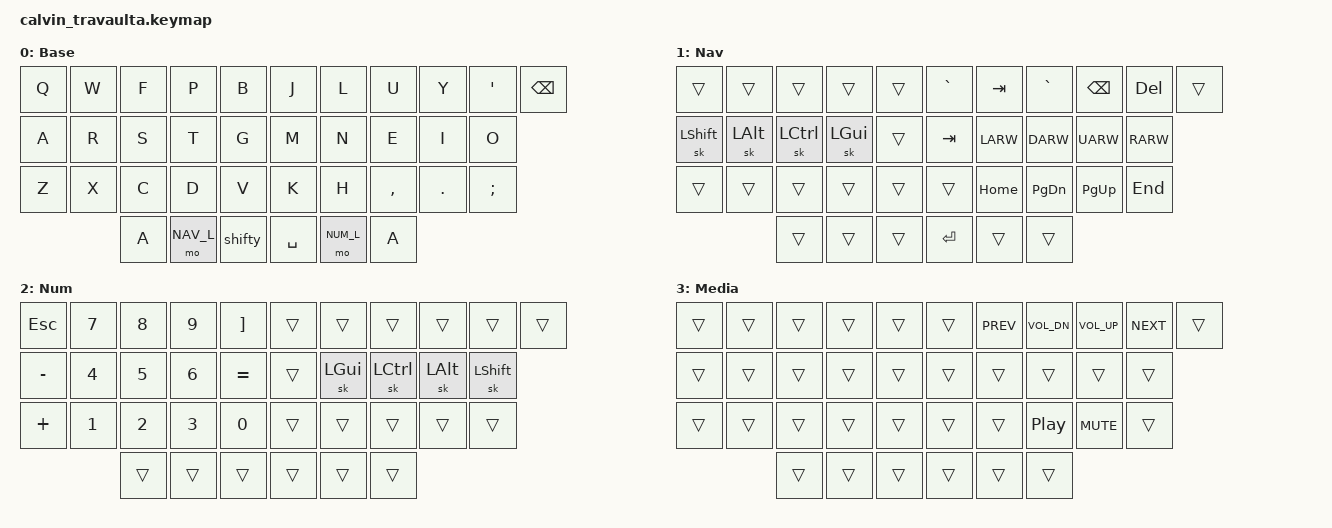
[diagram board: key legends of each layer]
#include <behaviors.dtsi>
#include <dt-bindings/zmk/keys.h>
#include <dt-bindings/zmk/bt.h>
#include <dt-bindings/zmk/outputs.h>

#define NAV_L 1
#define NUM_L 2
#define MED_L 3

/ {

    tap_dances {
       shifty: shift_caps_word {
		compatible = "zmk,behavior-tap-dance";
		#binding-cells = <0>;
		tapping-term-ms = <150>;
		bindings = <&kp LSHFT>, <&caps_word>;
	};
    };
    cond_layers {
        compatible = "zmk,conditional-layers";
	tri {
	    if-layers = <NUM_L NAV_L>;
	    then-layer = <MED_L>;
        };
    };
    combos {
        compatible = "zmk,combos";

	lgui_combo {
	    timeout-ms = <50>;
            key-positions = <14 17>;
            bindings = <&kp LGUI>;
	    layers = <MED_L>;
	};

	l_curly_bracket {
	    timeout-ms = <50>;
            key-positions = <1 12>;
            bindings = <&kp LS(LBKT)>;
	    layers = <NUM_L>;
	};

	r_curly_bracket {
	    timeout-ms = <50>;
            key-positions = <3 14>;
            bindings = <&kp LS(RBKT)>;
	    layers = <NUM_L>;
	};
	lbracket {
	    timeout-ms = <50>;
            key-positions = <12 22>;
            bindings = <&kp LBKT>;
	    layers = <NUM_L>;
	};

	rbracket {
	    timeout-ms = <50>;
            key-positions = <14 24>;
            bindings = <&kp RBKT>;
	    layers = <NUM_L>;
	};

	ques_mark_combo {
	    timeout-ms = <50>;
            key-positions = <19 29>;
            bindings = <&kp LS(FSLH)>;
	};

	bslash_combo {
	    timeout-ms = <50>;
            key-positions = <9 20>;
            bindings = <&kp BSLH>;
	};

	fslash_combo {
	    timeout-ms = <50>;
            key-positions = <20 30>;
            bindings = <&kp FSLH>;
	};

	bootloader_combo {
	    timeout-ms = <50>;
            key-positions = <4 5>;
            bindings = <&bootloader>;
	    layers = <MED_L>;
	};

    };


    keymap {
        compatible = "zmk,keymap";

        base {
            display-name = "Base";
            bindings = <
       &kp Q      &kp W      &kp F       &kp P          &kp B         &kp J            &kp L          &kp U       &kp Y      &kp QUOT &kp BACKSPACE
       &kp A      &kp R      &kp S       &kp T          &kp G         &kp M            &kp N          &kp E       &kp I      &kp O   
       &kp Z      &kp X      &kp C       &kp D          &kp V         &kp K            &kp H          &kp COMMA   &kp DOT    &kp SEMI     
                                &kp A       &mo NAV_L      &shifty      &kp SPACE        &mo NUM_L &kp A
            >;
        };

        nav_layer {
            display-name = "Nav";
            bindings = <
       &trans     &trans     &trans      &trans          &trans       &kp GRAVE        &kp TAB        &kp GRAVE   &kp BKSP   &kp DEL &trans
       &sk LSHFT  &sk LALT   &sk LCTRL   &sk LGUI        &trans       &kp TAB          &kp LARW       &kp DARW    &kp UARW   &kp RARW
       &trans     &trans     &trans      &trans          &trans       &trans           &kp HOME       &kp PG_DN   &kp PG_UP  &kp END
                                     &trans &trans          &trans       &kp RET          &trans &trans
            >;
        };

        num_layer {
            display-name = "Num";
            bindings = <
       &kp ESC   &kp N7     &kp N8      &kp N9          &kp RBKT      &trans        &trans         &trans      &trans     &trans &trans
       &kp MINUS  &kp N4     &kp N5      &kp N6          &kp EQUAL     &trans        &sk LGUI       &sk LCTRL      &sk LALT     &sk LSHFT
       &kp PLUS  &kp N1     &kp N2      &kp N3          &kp N0        &trans  &trans   &trans &trans &trans
                                    &trans &trans          &trans        &trans        &trans &trans
            >;
        };

        media_layer {
            display-name = "Media";
            bindings = <
       &trans	   &trans     &trans      &trans          &trans       &trans           &kp C_PREV     &kp C_VOL_DN     &kp C_VOL_UP &kp C_NEXT &trans
       &trans       &trans     &trans      &trans          &trans       &trans           &trans         &trans           &trans       &trans
       &trans        &trans     &trans      &trans          &trans       &trans           &trans         &kp C_PLAY_PAUSE &kp C_MUTE       &trans
                                            &trans &trans          &trans        &trans        &trans &trans
            >;
        };
    };
};
